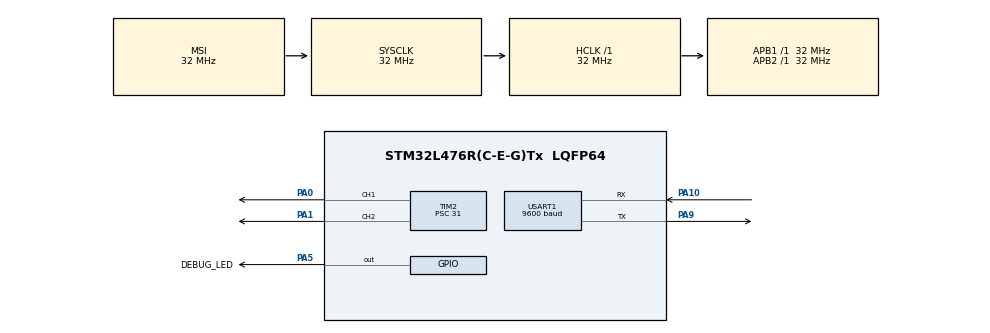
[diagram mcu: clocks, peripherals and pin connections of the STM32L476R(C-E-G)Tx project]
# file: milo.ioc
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Mcu.Family=STM32L4
Mcu.Name=STM32L476R(C-E-G)Tx
Mcu.Package=LQFP64
NVIC.PriorityGroup=NVIC_PRIORITYGROUP_4
NVIC.USART1_IRQn=true\:0\:0\:false\:false\:true\:true\:true\:true
PA0.Signal=S_TIM2_CH1
PA1.Signal=S_TIM2_CH2
PA10.Mode=Asynchronous
PA10.Signal=USART1_RX
PA5.GPIO_Label=DEBUG_LED
PA5.Signal=GPIO_Output
PA9.Mode=Asynchronous
PA9.Signal=USART1_TX
ProjectManager.HeapSize=0x200
ProjectManager.StackSize=0x400
ProjectManager.TargetToolchain=STM32CubeIDE
RCC.ADCFreq_Value=128000000
RCC.AHBFreq_Value=32000000
RCC.APB1Freq_Value=32000000
RCC.APB1TimFreq_Value=32000000
RCC.APB2Freq_Value=32000000
RCC.APB2TimFreq_Value=32000000
RCC.CortexFreq_Value=32000000
RCC.HCLKFreq_Value=32000000
RCC.HSE_VALUE=8000000
RCC.HSI_VALUE=16000000
RCC.LSE_VALUE=32768
RCC.MSIClockRange=RCC_MSIRANGE_10
RCC.MSI_VALUE=32000000
RCC.SYSCLKFreq_VALUE=32000000
RCC.USBFreq_Value=128000000
RCC.VCOOutputFreq_Value=256000000
SH.S_TIM2_CH1.0=TIM2_CH1,PWM Generation1 CH1
SH.S_TIM2_CH2.0=TIM2_CH2,PWM Generation2 CH2
TIM2.Channel-PWM\ Generation1\ CH1=TIM_CHANNEL_1
TIM2.Channel-PWM\ Generation2\ CH2=TIM_CHANNEL_2
TIM2.Period=20000
TIM2.Prescaler=31
TIM2.Pulse-PWM\ Generation1\ CH1=1000
TIM2.Pulse-PWM\ Generation2\ CH2=1000
USART1.BaudRate=9600
USART1.VirtualMode-Asynchronous=VM_ASYNC
board=custom

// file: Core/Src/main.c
/* USER CODE BEGIN Header */
/**
  ******************************************************************************
  * @file           : main.c
  * @brief          : Main program body
  ******************************************************************************
  * @attention
  *
  * Copyright (c) 2025 STMicroelectronics.
  * All rights reserved.
  *
  * This software is licensed under terms that can be found in the LICENSE file
  * in the root directory of this software component.
  * If no LICENSE file comes with this software, it is provided AS-IS.
  *
  ******************************************************************************
  */
/* USER CODE END Header */
#include "main.h"
#include "tim.h"
#include "usart.h"
#include "gpio.h"

/* USER CODE BEGIN Includes */

#include "servo.h"
#include "bluetooth.h"

/* USER CODE END Includes */

void SystemClock_Config(void);

int main(void)
{

  /* MCU Configuration--------------------------------------------------------*/

  /* Reset of all peripherals, Initializes the Flash interface and the Systick. */
  HAL_Init();

  /* Configure the system clock */
  SystemClock_Config();

  /* Initialize all configured peripherals */
  MX_GPIO_Init();
  MX_TIM2_Init();
  MX_USART1_UART_Init();

  /* Infinite loop */
  /* USER CODE BEGIN WHILE */
  initializeBluetoothConnection();
  Servo servo;
  servoInit(&servo, &htim2, TIM_CHANNEL_1);

  Servo servoTwo;
  servoInit(&servoTwo, &htim2, TIM_CHANNEL_2);

  servoSetAngle(&servo, 0);
  servoSetAngle(&servoTwo, 0);
  HAL_Delay(500);

  while (1)
  {
	  servoSetAngle(&servo, 30);
	  servoSetAngle(&servoTwo, 30);

	  HAL_Delay(1000);

	  servoSetAngle(&servo, 0);
	  servoSetAngle(&servoTwo, 0);

	  HAL_Delay(1000);

    /* USER CODE END WHILE */

  }
}

void SystemClock_Config(void)
{
  RCC_OscInitTypeDef RCC_OscInitStruct = {0};
  RCC_ClkInitTypeDef RCC_ClkInitStruct = {0};

  /** Configure the main internal regulator output voltage
  */
  if (HAL_PWREx_ControlVoltageScaling(PWR_REGULATOR_VOLTAGE_SCALE1) != HAL_OK)
  {
    Error_Handler();
  }

  /** Initializes the RCC Oscillators according to the specified parameters
  * in the RCC_OscInitTypeDef structure.
  */
  RCC_OscInitStruct.OscillatorType = RCC_OSCILLATORTYPE_MSI;
  RCC_OscInitStruct.MSIState = RCC_MSI_ON;
  RCC_OscInitStruct.MSICalibrationValue = 0;
  RCC_OscInitStruct.MSIClockRange = RCC_MSIRANGE_10;
  RCC_OscInitStruct.PLL.PLLState = RCC_PLL_NONE;
  if (HAL_RCC_OscConfig(&RCC_OscInitStruct) != HAL_OK)
  {
    Error_Handler();
  }

  /** Initializes the CPU, AHB and APB buses clocks
  */
  RCC_ClkInitStruct.ClockType = RCC_CLOCKTYPE_HCLK|RCC_CLOCKTYPE_SYSCLK
                              |RCC_CLOCKTYPE_PCLK1|RCC_CLOCKTYPE_PCLK2;
  RCC_ClkInitStruct.SYSCLKSource = RCC_SYSCLKSOURCE_MSI;
  RCC_ClkInitStruct.AHBCLKDivider = RCC_SYSCLK_DIV1;
  RCC_ClkInitStruct.APB1CLKDivider = RCC_HCLK_DIV1;
  RCC_ClkInitStruct.APB2CLKDivider = RCC_HCLK_DIV1;

  if (HAL_RCC_ClockConfig(&RCC_ClkInitStruct, FLASH_LATENCY_1) != HAL_OK)
  {
    Error_Handler();
  }
}

void Error_Handler(void)
{
  __disable_irq();
  while (1)
  {
  }
}
